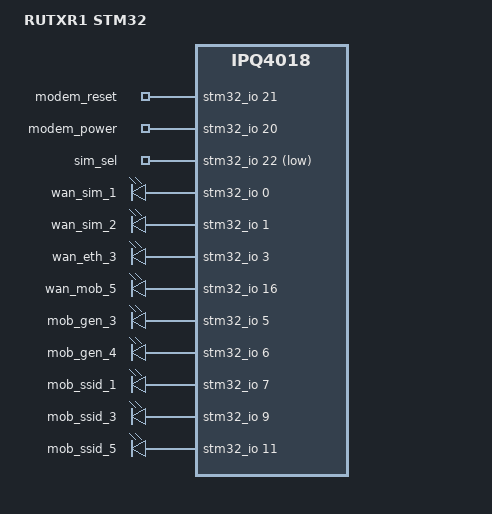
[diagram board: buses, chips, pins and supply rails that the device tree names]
#include "qcom-ipq4018-rutx-STM32.dtsi"

/ {
	model = "RUTXR1 STM32";

	soc {
		gpio-export {
			compatible = "gpio-export";
			#size-cells = <0>;

			gpio_modem_reset {
				gpio-export,name = "modem_reset";
				gpio-export,output = <0>;
				gpios = <&stm32_io 21 GPIO_ACTIVE_HIGH>;
			};

			gpio_modem_power {
				gpio-export,name = "modem_power";
				gpio-export,output = <0>;
				gpios = <&stm32_io 20 GPIO_ACTIVE_HIGH>;
			};

			gpio_sim_select {
				gpio-export,name = "sim_sel";
				gpio-export,output = <1>;
				gpios = <&stm32_io 22 GPIO_ACTIVE_LOW>;
			};
		};

		leds {
			compatible = "gpio-leds";

			led_wan_sim1 {
				label = "wan_sim_1";
				gpios = <&stm32_io 0 GPIO_ACTIVE_HIGH>;
			};

			led_wan_sim2 {
				label = "wan_sim_2";
				gpios = <&stm32_io 1 GPIO_ACTIVE_HIGH>;
			};

			led_wan_eth {
				label = "wan_eth_3";
				gpios = <&stm32_io 3 GPIO_ACTIVE_HIGH>;
			};

			led_wan_mob {
				label = "wan_mob_5";
				gpios = <&stm32_io 16 GPIO_ACTIVE_HIGH>;
			};

			led_gen_3 {
				label = "mob_gen_3";
				gpios = <&stm32_io 5 GPIO_ACTIVE_HIGH>;
			};

			led_gen_4 {
				label = "mob_gen_4";
				gpios = <&stm32_io 6 GPIO_ACTIVE_HIGH>;
			};

			led_ssid_1 {
				label = "mob_ssid_1";
				gpios = <&stm32_io 7 GPIO_ACTIVE_HIGH>;
				linux,default-trigger = "timer";
			};

			led_ssid_3 {
				label = "mob_ssid_3";
				gpios = <&stm32_io 9 GPIO_ACTIVE_HIGH>;
				linux,default-trigger = "timer";
			};

			led_ssid_5 {
				label = "mob_ssid_5";
				gpios = <&stm32_io 11 GPIO_ACTIVE_HIGH>;
				linux,default-trigger = "timer";
			};
		};
	};
};
